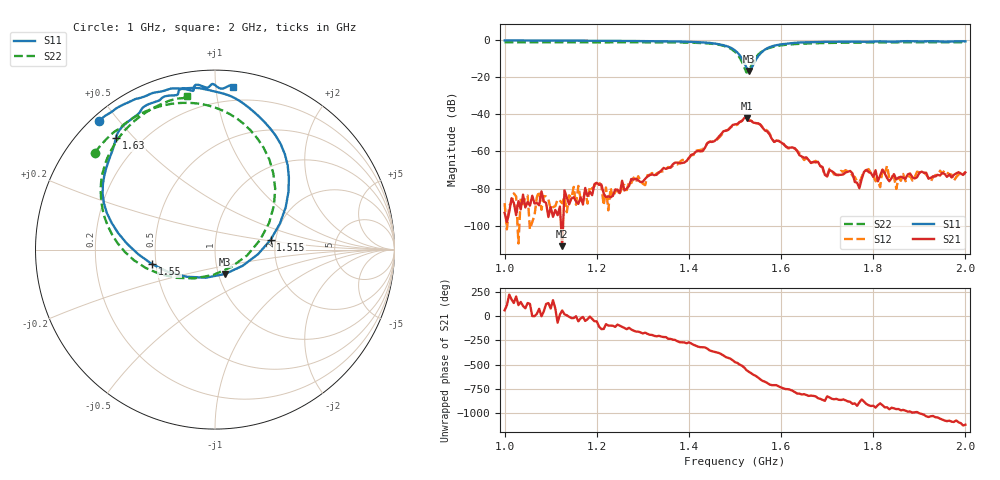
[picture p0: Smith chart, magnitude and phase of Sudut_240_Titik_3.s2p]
# Hz S RI R 50
! CMT, C1220, 16058040, 17.2.0/1
! Date: 14/08/2018 12:40:13
! Data: Format (Calibration Info)
! Freq  S11: Re/Im (F2)  S21: Re/Im (F2)  S12: Re/Im (F2)  S22: Re/Im (F2)
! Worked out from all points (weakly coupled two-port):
!   201 points, 1 GHz to 2 GHz, reference 50 ohm
!   highest |S21| = -41.99 dB at 1.525 GHz (marker M1); lowest = -110.9 dB at 1.125 GHz (marker M2)
!   lowest |S11| = -16.7 dB at 1.53 GHz (marker M3), VSWR 1.34, Z = 53.7 - j14.9 ohm
!   |S11| at or under -10 dB: 1.515 GHz to 1.547 GHz (32.12 MHz wide, 2.1 % of centre)
!   |S22| runs from -17.6 to -1.2 dB; largest |S21 - S12| = 0.00034
!   S11 on the Smith chart (normalised r, x): 1 GHz: 0.02, +0.44; 1.515 GHz: 1.88, +0.23; 1.55 GHz: 0.47, -0.09; 1.63 GHz: 0.11, +0.44; 2 GHz: 0.10, +1.11
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1e9  -0.648 0.7142  1.11e-05 1.94e-05  1.99e-06 -4.06e-05  -0.6705 0.5405
1.125e9  -0.523 0.8021  1.48e-06 2.43e-06  4.07e-05 -8.72e-07  -0.5946 0.6262
1.17e9  -0.4765 0.8236  3.71e-05 -5.23e-06  7.92e-06 -5.17e-05  -0.5584 0.6581
1.335e9  -0.2148 0.8975  -0.00025 0.00011  -0.000224 0.000161  -0.3738 0.7754
1.45e9  0.186 0.7929  0.00181 -7.27e-05  0.00182 -0.00024  0.0175 0.785
1.5e9  0.4095 0.3232  -0.00231 -0.00484  -0.00219 -0.00452  0.3353 0.3407
1.515e9  0.3104 0.0552  -0.00582 -0.00305  -0.00582 -0.00323  0.2508 0.0533
1.525e9  0.1541 -0.0902  -0.00754 0.00251  -0.00762 0.00248  0.0898 -0.0976
1.53e9  0.0554 -0.1361  -0.00546 0.00388  -0.00549 0.00387  -0.0108 -0.1415
1.55e9  -0.3513 -0.0807  0.000425 0.00567  0.000214 0.00568  -0.3856 -0.1025
1.63e9  -0.5524 0.622  0.000508 -0.00111  0.000592 -0.00104  -0.6151 0.4661
1.67e9  -0.4379 0.7475  -0.000129 -0.00051  -0.00012 -0.0005  -0.5627 0.5828
1.7e9  -0.3959 0.7963  -6.99e-05 -0.0002  -6.38e-05 -0.000219  -0.5237 0.6394
1.75e9  -0.2902 0.8487  -0.00029 -7.6e-05  -0.000269 -5.77e-06  -0.4585 0.7085
1.77e9  -0.2371 0.859  -0.000102 -1.68e-05  -0.000145 -3.24e-05  -0.4345 0.7286
1.785e9  -0.208 0.8637  -0.000318 4.17e-05  -0.000305 2.97e-06  -0.4154 0.7428
1.815e9  -0.1821 0.8953  -0.000228 6.88e-06  -0.0001 -4.46e-05  -0.3794 0.7681
1.82e9  -0.1696 0.8945  -0.000307 0.000113  -0.000328 3.29e-05  -0.3732 0.7713
1.83e9  -0.1422 0.8884  -0.000141 0.00013  -0.00034 0.000232  -0.3616 0.7784
1.835e9  -0.1308 0.8851  -7.33e-05 0.00014  -0.000119 0.000143  -0.3558 0.782
1.85e9  -0.1181 0.8917  -8.57e-05 0.000155  -5.18e-05 8.37e-05  -0.3383 0.792
2e9  0.1027 0.9079  0.000203 -0.000183  0.000209 -0.000187  -0.156 0.8541
